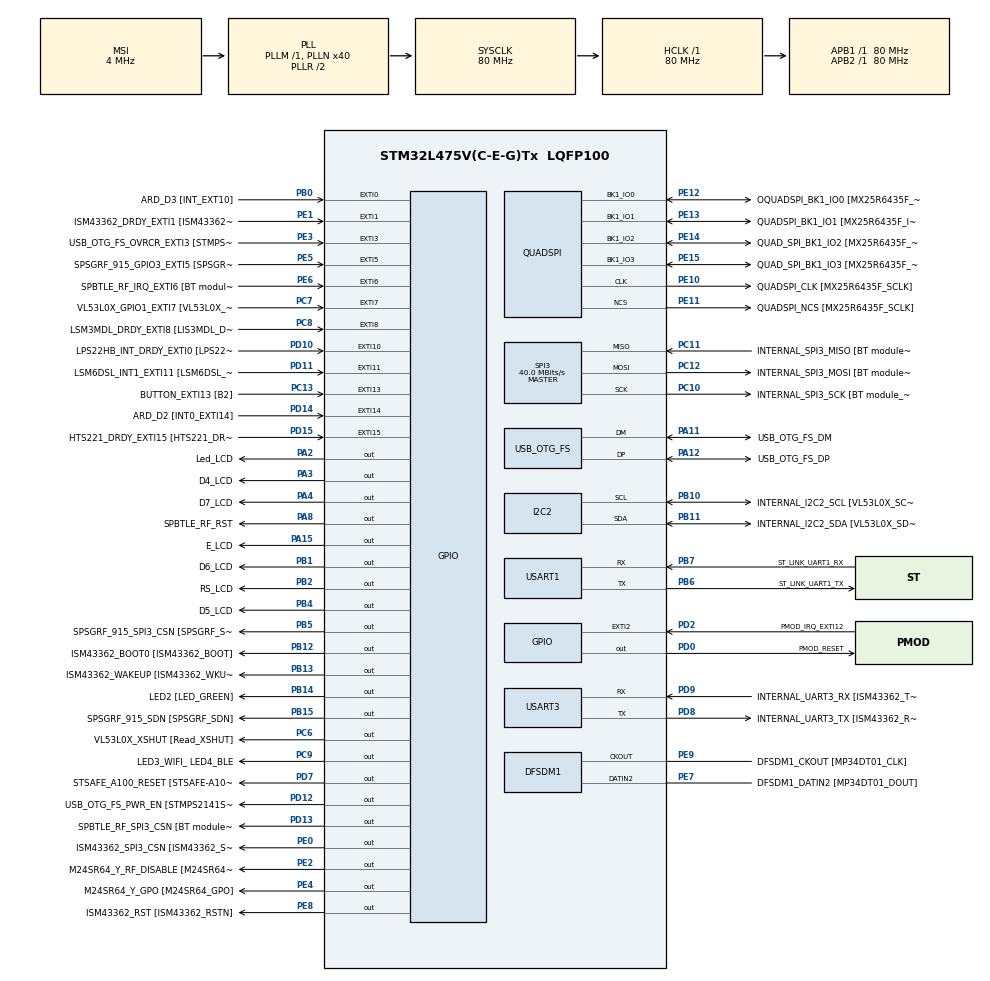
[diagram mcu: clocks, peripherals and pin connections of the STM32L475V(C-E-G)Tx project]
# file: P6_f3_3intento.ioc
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I2C2.Timing=0x10909CEC
Mcu.Family=STM32L4
Mcu.Name=STM32L475V(C-E-G)Tx
Mcu.Package=LQFP100
NVIC.EXTI15_10_IRQn=true\:0\:0\:false\:false\:true\:true\:true\:true
NVIC.EXTI9_5_IRQn=true\:0\:0\:false\:false\:true\:true\:true\:true
NVIC.OTG_FS_IRQn=true\:0\:0\:false\:false\:true\:false\:true\:true
NVIC.PriorityGroup=NVIC_PRIORITYGROUP_4
PA0.GPIO_Label=ARD_D1 [UART4_TX]
PA0.Signal=UART4_TX
PA1.GPIO_Label=ARD_D0 [UART4_RX]
PA1.Signal=UART4_RX
PA10.GPIO_Label=USB_OTG_FS_ID
PA10.Signal=USB_OTG_FS_ID
PA11.GPIO_Label=USB_OTG_FS_DM
PA11.Mode=Device_Only
PA11.Signal=USB_OTG_FS_DM
PA12.GPIO_Label=USB_OTG_FS_DP
PA12.Mode=Device_Only
PA12.Signal=USB_OTG_FS_DP
PA13\ (JTMS-SWDIO).GPIO_Label=SYS_JTMS_SWDIO
PA13\ (JTMS-SWDIO).Mode=Serial_Wire
PA13\ (JTMS-SWDIO).Signal=SYS_JTMS-SWDIO
PA14\ (JTCK-SWCLK).GPIO_Label=SYS_JTCK_SWCLK
PA14\ (JTCK-SWCLK).Mode=Serial_Wire
PA14\ (JTCK-SWCLK).Signal=SYS_JTCK-SWCLK
PA15\ (JTDI).GPIO_Label=E_LCD
PA15\ (JTDI).Signal=GPIO_Output
PA2.GPIO_Label=Led_LCD
PA2.Signal=GPIO_Output
PA3.GPIO_Label=D4_LCD
PA3.Signal=GPIO_Output
PA4.GPIO_Label=D7_LCD
PA4.Signal=GPIO_Output
PA5.GPIO_Label=ARD_D13 [SPI1_SCK]
PA5.Signal=SPI1_SCK
PA6.GPIO_Label=ARD_D12 [SPI1_MISO]
PA6.Signal=SPI1_MISO
PA7.GPIO_Label=ARD_D11 [SPI1_MOSI]
PA7.Signal=SPI1_MOSI
PA8.GPIO_Label=SPBTLE_RF_RST
PA8.Signal=GPIO_Output
PA9.GPIO_Label=USB_OTG_FS_VBUS [STMPS2141STR_OUT]
PA9.Signal=USB_OTG_FS_VBUS
PB0.GPIO_Label=ARD_D3 [INT_EXT10]
PB0.Signal=GPXTI0
PB1.GPIO_Label=D6_LCD
PB1.Signal=GPIO_Output
PB10.GPIO_Label=INTERNAL_I2C2_SCL [VL53L0X_SCL]
PB10.GPIO_Pu=GPIO_PULLUP
PB10.Mode=I2C
PB10.Signal=I2C2_SCL
PB11.GPIO_Label=INTERNAL_I2C2_SDA [VL53L0X_SDA]
PB11.GPIO_Pu=GPIO_PULLUP
PB11.Mode=I2C
PB11.Signal=I2C2_SDA
PB12.GPIO_Label=ISM43362_BOOT0 [ISM43362_BOOT]
PB12.Signal=GPIO_Output
PB13.GPIO_Label=ISM43362_WAKEUP [ISM43362_WKUP]
PB13.Signal=GPIO_Output
PB14.GPIO_Label=LED2 [LED_GREEN]
PB14.Signal=GPIO_Output
PB15.GPIO_Label=SPSGRF_915_SDN [SPSGRF_SDN]
PB15.Signal=GPIO_Output
PB2.GPIO_Label=RS_LCD
PB2.Signal=GPIO_Output
PB3\ (JTDO-TRACESWO).GPIO_Label=SYS_JTD0_SWO
PB3\ (JTDO-TRACESWO).Signal=SYS_JTDO-SWO
PB4\ (NJTRST).GPIO_Label=D5_LCD
PB4\ (NJTRST).Signal=GPIO_Output
PB5.GPIO_Label=SPSGRF_915_SPI3_CSN [SPSGRF_SPI_CS]
PB5.PinState=GPIO_PIN_SET
PB5.Signal=GPIO_Output
PB6.GPIO_Label=ST_LINK_UART1_TX
PB6.Mode=Asynchronous
PB6.Signal=USART1_TX
PB7.GPIO_Label=ST_LINK_UART1_RX
PB7.Mode=Asynchronous
PB7.Signal=USART1_RX
PB8.GPIO_Label=ARD_D15 [I2C1_SCL]
PB8.Signal=I2C1_SCL
PB9.GPIO_Label=ARD_D14 [I2C1_SDA]
PB9.Signal=I2C1_SDA
PC0.GPIO_Label=ARD_A5 [ADC]
PC0.Signal=ADCx_IN1
PC1.GPIO_Label=ARD_A4 [ADC]
PC1.Signal=ADCx_IN2
PC10.GPIO_Label=INTERNAL_SPI3_SCK [BT module_SPI_SCLK] [ISM43362_SCK]
PC10.Mode=Full_Duplex_Master
PC10.Signal=SPI3_SCK
PC11.GPIO_Label=INTERNAL_SPI3_MISO [BT module_SPI_MISO] [ISM43362_MISO]
PC11.Mode=Full_Duplex_Master
PC11.Signal=SPI3_MISO
PC12.GPIO_Label=INTERNAL_SPI3_MOSI [BT module_SPI_MOSI] [ISM43362_MOSI]
PC12.Mode=Full_Duplex_Master
PC12.Signal=SPI3_MOSI
PC13.GPIO_Label=BUTTON_EXTI13 [B2]
PC13.GPIO_ModeDefaultEXTI=GPIO_MODE_IT_RISING_FALLING
PC13.GPIO_PuPd=GPIO_NOPULL
PC13.Signal=GPXTI13
PC14-OSC32_IN\ (PC14).Mode=LSE-External-Oscillator
PC14-OSC32_IN\ (PC14).Signal=RCC_OSC32_IN
PC15-OSC32_OUT\ (PC15).Mode=LSE-External-Oscillator
PC15-OSC32_OUT\ (PC15).Signal=RCC_OSC32_OUT
PC2.GPIO_Label=ARD_A3 [ADC]
PC2.Signal=ADCx_IN3
PC3.GPIO_Label=ARD_A2 [ADC]
PC3.Signal=ADCx_IN4
PC4.GPIO_Label=ARD_A1 [ADC]
PC4.Signal=ADCx_IN13
PC5.GPIO_Label=ARD_A0 [ADC]
PC5.Signal=ADCx_IN14
PC6.GPIO_Label=VL53L0X_XSHUT [Read_XSHUT]
PC6.Signal=GPIO_Output
PC7.GPIO_Label=VL53L0X_GPIO1_EXTI7 [VL53L0X_GPIO1]
PC7.Signal=GPXTI7
PC8.GPIO_Label=LSM3MDL_DRDY_EXTI8 [LIS3MDL_DRDY]
PC8.Signal=GPXTI8
PC9.GPIO_Label=LED3_WIFI_ LED4_BLE
PC9.Signal=GPIO_Output
PD0.GPIO_Label=PMOD_RESET
PD0.Signal=GPIO_Output
PD1.GPIO_Label=PMOD_SPI2_SCK
PD1.Signal=SPI2_SCK
PD10.GPIO_Label=LPS22HB_INT_DRDY_EXTI0 [LPS22HB_INT_DRDY] 
PD10.Signal=GPXTI10
PD11.GPIO_Label=LSM6DSL_INT1_EXTI11 [LSM6DSL_INT1]
PD11.Signal=GPXTI11
PD12.GPIO_Label=USB_OTG_FS_PWR_EN [STMPS2141STR_EN]
PD12.Signal=GPIO_Output
PD13.GPIO_Label=SPBTLE_RF_SPI3_CSN [BT module_SPI_CS]
PD13.PinState=GPIO_PIN_SET
PD13.Signal=GPIO_Output
PD14.GPIO_Label=ARD_D2 [INT0_EXTI14]
PD14.Signal=GPXTI14
PD15.GPIO_Label=HTS221_DRDY_EXTI15 [HTS221_DRDY]
PD15.Signal=GPXTI15
PD2.GPIO_Label=PMOD_IRQ_EXTI12
PD2.Signal=GPXTI2
PD3.GPIO_Label=PMOD_UART2_CTS
PD3.Signal=USART2_CTS
PD4.GPIO_Label=PMOD_UART2_RTS
PD4.Signal=USART2_RTS
PD5.GPIO_Label=PMOD_UART2_TX
PD5.Signal=USART2_TX
PD6.GPIO_Label=PMOD_UART2_RX
PD6.Signal=USART2_RX
PD7.GPIO_Label=STSAFE_A100_RESET [STSAFE-A100_RESET]
PD7.Signal=GPIO_Output
PD8.GPIO_Label=INTERNAL_UART3_TX [ISM43362_RX]
PD8.Mode=Asynchronous
PD8.Signal=USART3_TX
PD9.GPIO_Label=INTERNAL_UART3_RX [ISM43362_TX]
PD9.Mode=Asynchronous
PD9.Signal=USART3_RX
PE0.GPIO_Label=ISM43362_SPI3_CSN [ISM43362_SSN]
PE0.PinState=GPIO_PIN_SET
PE0.Signal=GPIO_Output
PE1.GPIO_Label=ISM43362_DRDY_EXTI1 [ISM43362_DATARDY]
PE1.Signal=GPXTI1
PE10.GPIO_Label=QUADSPI_CLK [MX25R6435F_SCLK]
PE10.Mode=Single Bank
PE10.Signal=QUADSPI_CLK
PE11.GPIO_Label=QUADSPI_NCS [MX25R6435F_SCLK]
PE11.Mode=Single Bank
PE11.Signal=QUADSPI_NCS
PE12.GPIO_Label=OQUADSPI_BK1_IO0 [MX25R6435F_IO0]
PE12.Mode=Single Bank
PE12.Signal=QUADSPI_BK1_IO0
PE13.GPIO_Label=QUADSPI_BK1_IO1 [MX25R6435F_IO1]
PE13.Mode=Single Bank
PE13.Signal=QUADSPI_BK1_IO1
PE14.GPIO_Label=QUAD_SPI_BK1_IO2 [MX25R6435F_IO2]
PE14.Mode=Single Bank
PE14.Signal=QUADSPI_BK1_IO2
PE15.GPIO_Label=QUAD_SPI_BK1_IO3 [MX25R6435F_IO3]
PE15.Mode=Single Bank
PE15.Signal=QUADSPI_BK1_IO3
PE2.GPIO_Label=M24SR64_Y_RF_DISABLE [M24SR64_RFDIS]
PE2.Signal=GPIO_Output
PE3.GPIO_Label=USB_OTG_FS_OVRCR_EXTI3 [STMPS2141STR_FAULT]
PE3.Signal=GPXTI3
PE4.GPIO_Label=M24SR64_Y_GPO [M24SR64_GPO]
PE4.Signal=GPIO_Output
PE5.GPIO_Label=SPSGRF_915_GPIO3_EXTI5 [SPSGRF_GPIO_3]
PE5.Signal=GPXTI5
PE6.GPIO_Label=SPBTLE_RF_IRQ_EXTI6 [BT module_SPI_IRQ]
PE6.Signal=GPXTI6
PE7.GPIO_Label=DFSDM1_DATIN2 [MP34DT01_DOUT]
PE7.Signal=S_DATAIN2DFSDM1
PE8.GPIO_Label=ISM43362_RST [ISM43362_RSTN]
PE8.Signal=GPIO_Output
PE9.GPIO_Label=DFSDM1_CKOUT [MP34DT01_CLK]
PE9.Signal=S_CKOUTDFSDM1
ProjectManager.HeapSize=0x200
ProjectManager.StackSize=0x400
ProjectManager.TargetToolchain=STM32CubeIDE
QUADSPI.ClockPrescaler=2
QUADSPI.FifoThreshold=4
QUADSPI.FlashSize=23
QUADSPI.SampleShifting=QSPI_SAMPLE_SHIFTING_HALFCYCLE
RCC.ADCFreq_Value=48000000
RCC.AHBFreq_Value=80000000
RCC.APB1Freq_Value=80000000
RCC.APB1TimFreq_Value=80000000
RCC.APB2Freq_Value=80000000
RCC.APB2TimFreq_Value=80000000
RCC.CortexFreq_Value=80000000
RCC.HCLKFreq_Value=80000000
RCC.HSE_VALUE=8000000
RCC.HSI_VALUE=16000000
RCC.MSI_VALUE=4000000
RCC.PLLN=40
RCC.PLLSAI1N=24
RCC.SYSCLKFreq_VALUE=80000000
RCC.SYSCLKSource=RCC_SYSCLKSOURCE_PLLCLK
RCC.USBFreq_Value=48000000
RCC.VCOOutputFreq_Value=160000000
SH.ADCx_IN1.0=ADC1_IN1
SH.ADCx_IN13.0=ADC1_IN13
SH.ADCx_IN14.0=ADC1_IN14
SH.ADCx_IN2.0=ADC1_IN2
SH.ADCx_IN3.0=ADC1_IN3
SH.ADCx_IN4.0=ADC1_IN4
SH.S_CKOUTDFSDM1.0=DFSDM1_CKOUT,CKOUT
SH.S_CKOUTDFSDM1.1=DFSDM1_CKOUT,PDM_SPI_Input_from_ch12_and_Internal_Clock
SH.S_DATAIN2DFSDM1.0=DFSDM1_DATIN2,PDM_SPI_Input_from_ch12_and_Internal_Clock
SPI3.CalculateBaudRate=40.0 MBits/s
SPI3.Direction=SPI_DIRECTION_2LINES
SPI3.Mode=SPI_MODE_MASTER
SPI3.VirtualType=VM_MASTER
USART1.VirtualMode-Asynchronous=VM_ASYNC
USART3.VirtualMode-Asynchronous=VM_ASYNC
USB_DEVICE.CLASS_NAME_FS=CUSTOM_HID
USB_DEVICE.PID_CUSTOMHID_FS=23456
USB_DEVICE.USBD_CUSTOMHID_OUTREPORT_BUF_SIZE=7
USB_DEVICE.USBD_CUSTOM_HID_REPORT_DESC_SIZE=29
USB_DEVICE.VID=1337
USB_DEVICE.VirtualMode=CustomHid
USB_DEVICE.VirtualModeFS=Custom_Hid_FS
USB_OTG_FS.VirtualMode=Device_Only
VP_USB_DEVICE_VS_USB_DEVICE_CUSTOM_HID_FS.Mode=CUSTOM_HID_FS
board=B-L475E-IOT01A2

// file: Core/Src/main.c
/* USER CODE BEGIN Header */
/**
  ******************************************************************************
  * @file           : main.c
  * @brief          : Main program body
  ******************************************************************************
  * @attention
  *
  * Copyright (c) 2024 STMicroelectronics.
  * All rights reserved.
  *
  * This software is licensed under terms that can be found in the LICENSE file
  * in the root directory of this software component.
  * If no LICENSE file comes with this software, it is provided AS-IS.
  *
  ******************************************************************************
  */
/* USER CODE END Header */
#include "main.h"
#include "usb_device.h"

/* USER CODE BEGIN Includes */
#include "hd44780.h"
/* USER CODE END Includes */

DFSDM_Channel_HandleTypeDef hdfsdm1_channel1;

I2C_HandleTypeDef hi2c2;

QSPI_HandleTypeDef hqspi;

SPI_HandleTypeDef hspi3;

UART_HandleTypeDef huart1;
UART_HandleTypeDef huart3;

void SystemClock_Config(void);
static void MX_GPIO_Init(void);
static void MX_DFSDM1_Init(void);
static void MX_I2C2_Init(void);
static void MX_QUADSPI_Init(void);
static void MX_SPI3_Init(void);
static void MX_USART1_UART_Init(void);
static void MX_USART3_UART_Init(void);

/* USER CODE BEGIN 0 */
extern USBD_HandleTypeDef hUsbDeviceFS;
extern uint8_t miflag;
/* USER CODE END 0 */

int main(void)
{

  /* MCU Configuration--------------------------------------------------------*/

  /* Reset of all peripherals, Initializes the Flash interface and the Systick. */
  HAL_Init();

  /* Configure the system clock */
  SystemClock_Config();

  /* Initialize all configured peripherals */
  MX_GPIO_Init();
  MX_DFSDM1_Init();
  MX_I2C2_Init();
  MX_QUADSPI_Init();
  MX_SPI3_Init();
  MX_USART1_UART_Init();
  MX_USART3_UART_Init();
  MX_USB_DEVICE_Init();
  /* USER CODE BEGIN 2 */

lcd_reset();
lcd_display_settings(1,0,0);
lcd_clear();
HAL_GPIO_WritePin(Led_LCD_GPIO_Port, Led_LCD_Pin, 1);
lcd_print("Tecla: ");
HAL_Delay(5000);

uint8_t dato[6];
USBD_LL_PrepareReceive(&hUsbDeviceFS, 1,dato, 6);
uint8_t datoCiclo[6] = {115,101,116,114,0,0}; //setr ascii
char str[1];
int i;
  /* USER CODE END 2 */

  /* Infinite loop */
  /* USER CODE BEGIN WHILE */
  while (1)
  {
if(miflag==1){
	USBD_LL_PrepareReceive(&hUsbDeviceFS, 1,dato, 6);
	miflag=0; //bajamos la bandera
	if(dato[0]== 115){
		//letra s minucula
		HAL_GPIO_WritePin(LED2_GPIO_Port, LED2_Pin, 1);
	}else if(dato[0]==114){
		//letra r
		HAL_GPIO_WritePin(LED2_GPIO_Port, LED2_Pin, 0);
	}
	//siempre imprimimos el caracter en la pantalla
	lcd_clear();
	lcd_print("letra");
	str[0]= (char) dato[0];
	moveToXY(1, 1);
	lcd_print(str);

}
//enviamos esta cadena  para saber que se ha terminado el ciclo
USBD_CUSTOM_HID_SendReport_FS(datoCiclo,6);
    /* USER CODE END WHILE */

  }
}

void SystemClock_Config(void)
{
  RCC_OscInitTypeDef RCC_OscInitStruct = {0};
  RCC_ClkInitTypeDef RCC_ClkInitStruct = {0};

  /** Configure the main internal regulator output voltage
  */
  if (HAL_PWREx_ControlVoltageScaling(PWR_REGULATOR_VOLTAGE_SCALE1) != HAL_OK)
  {
    Error_Handler();
  }

  /** Configure LSE Drive Capability
  */
  HAL_PWR_EnableBkUpAccess();
  __HAL_RCC_LSEDRIVE_CONFIG(RCC_LSEDRIVE_LOW);

  /** Initializes the RCC Oscillators according to the specified parameters
  * in the RCC_OscInitTypeDef structure.
  */
  RCC_OscInitStruct.OscillatorType = RCC_OSCILLATORTYPE_LSE|RCC_OSCILLATORTYPE_MSI;
  RCC_OscInitStruct.LSEState = RCC_LSE_ON;
  RCC_OscInitStruct.MSIState = RCC_MSI_ON;
  RCC_OscInitStruct.MSICalibrationValue = 0;
  RCC_OscInitStruct.MSIClockRange = RCC_MSIRANGE_6;
  RCC_OscInitStruct.PLL.PLLState = RCC_PLL_ON;
  RCC_OscInitStruct.PLL.PLLSource = RCC_PLLSOURCE_MSI;
  RCC_OscInitStruct.PLL.PLLM = 1;
  RCC_OscInitStruct.PLL.PLLN = 40;
  RCC_OscInitStruct.PLL.PLLP = RCC_PLLP_DIV7;
  RCC_OscInitStruct.PLL.PLLQ = RCC_PLLQ_DIV2;
  RCC_OscInitStruct.PLL.PLLR = RCC_PLLR_DIV2;
  if (HAL_RCC_OscConfig(&RCC_OscInitStruct) != HAL_OK)
  {
    Error_Handler();
  }

  /** Initializes the CPU, AHB and APB buses clocks
  */
  RCC_ClkInitStruct.ClockType = RCC_CLOCKTYPE_HCLK|RCC_CLOCKTYPE_SYSCLK
                              |RCC_CLOCKTYPE_PCLK1|RCC_CLOCKTYPE_PCLK2;
  RCC_ClkInitStruct.SYSCLKSource = RCC_SYSCLKSOURCE_PLLCLK;
  RCC_ClkInitStruct.AHBCLKDivider = RCC_SYSCLK_DIV1;
  RCC_ClkInitStruct.APB1CLKDivider = RCC_HCLK_DIV1;
  RCC_ClkInitStruct.APB2CLKDivider = RCC_HCLK_DIV1;

  if (HAL_RCC_ClockConfig(&RCC_ClkInitStruct, FLASH_LATENCY_4) != HAL_OK)
  {
    Error_Handler();
  }

  /** Enable MSI Auto calibration
  */
  HAL_RCCEx_EnableMSIPLLMode();
}

static void MX_DFSDM1_Init(void)
{

  hdfsdm1_channel1.Instance = DFSDM1_Channel1;
  hdfsdm1_channel1.Init.OutputClock.Activation = ENABLE;
  hdfsdm1_channel1.Init.OutputClock.Selection = DFSDM_CHANNEL_OUTPUT_CLOCK_SYSTEM;
  hdfsdm1_channel1.Init.OutputClock.Divider = 2;
  hdfsdm1_channel1.Init.Input.Multiplexer = DFSDM_CHANNEL_EXTERNAL_INPUTS;
  hdfsdm1_channel1.Init.Input.DataPacking = DFSDM_CHANNEL_STANDARD_MODE;
  hdfsdm1_channel1.Init.Input.Pins = DFSDM_CHANNEL_FOLLOWING_CHANNEL_PINS;
  hdfsdm1_channel1.Init.SerialInterface.Type = DFSDM_CHANNEL_SPI_RISING;
  hdfsdm1_channel1.Init.SerialInterface.SpiClock = DFSDM_CHANNEL_SPI_CLOCK_INTERNAL;
  hdfsdm1_channel1.Init.Awd.FilterOrder = DFSDM_CHANNEL_FASTSINC_ORDER;
  hdfsdm1_channel1.Init.Awd.Oversampling = 1;
  hdfsdm1_channel1.Init.Offset = 0;
  hdfsdm1_channel1.Init.RightBitShift = 0x00;
  if (HAL_DFSDM_ChannelInit(&hdfsdm1_channel1) != HAL_OK)
  {
    Error_Handler();
  }

}

static void MX_I2C2_Init(void)
{

  hi2c2.Instance = I2C2;
  hi2c2.Init.Timing = 0x10909CEC;
  hi2c2.Init.OwnAddress1 = 0;
  hi2c2.Init.AddressingMode = I2C_ADDRESSINGMODE_7BIT;
  hi2c2.Init.DualAddressMode = I2C_DUALADDRESS_DISABLE;
  hi2c2.Init.OwnAddress2 = 0;
  hi2c2.Init.OwnAddress2Masks = I2C_OA2_NOMASK;
  hi2c2.Init.GeneralCallMode = I2C_GENERALCALL_DISABLE;
  hi2c2.Init.NoStretchMode = I2C_NOSTRETCH_DISABLE;
  if (HAL_I2C_Init(&hi2c2) != HAL_OK)
  {
    Error_Handler();
  }

  /** Configure Analogue filter
  */
  if (HAL_I2CEx_ConfigAnalogFilter(&hi2c2, I2C_ANALOGFILTER_ENABLE) != HAL_OK)
  {
    Error_Handler();
  }

  /** Configure Digital filter
  */
  if (HAL_I2CEx_ConfigDigitalFilter(&hi2c2, 0) != HAL_OK)
  {
    Error_Handler();
  }

}

static void MX_QUADSPI_Init(void)
{

  /* QUADSPI parameter configuration*/
  hqspi.Instance = QUADSPI;
  hqspi.Init.ClockPrescaler = 2;
  hqspi.Init.FifoThreshold = 4;
  hqspi.Init.SampleShifting = QSPI_SAMPLE_SHIFTING_HALFCYCLE;
  hqspi.Init.FlashSize = 23;
  hqspi.Init.ChipSelectHighTime = QSPI_CS_HIGH_TIME_1_CYCLE;
  hqspi.Init.ClockMode = QSPI_CLOCK_MODE_0;
  if (HAL_QSPI_Init(&hqspi) != HAL_OK)
  {
    Error_Handler();
  }

}

static void MX_SPI3_Init(void)
{

  /* SPI3 parameter configuration*/
  hspi3.Instance = SPI3;
  hspi3.Init.Mode = SPI_MODE_MASTER;
  hspi3.Init.Direction = SPI_DIRECTION_2LINES;
  hspi3.Init.DataSize = SPI_DATASIZE_4BIT;
  hspi3.Init.CLKPolarity = SPI_POLARITY_LOW;
  hspi3.Init.CLKPhase = SPI_PHASE_1EDGE;
  hspi3.Init.NSS = SPI_NSS_SOFT;
  hspi3.Init.BaudRatePrescaler = SPI_BAUDRATEPRESCALER_2;
  hspi3.Init.FirstBit = SPI_FIRSTBIT_MSB;
  hspi3.Init.TIMode = SPI_TIMODE_DISABLE;
  hspi3.Init.CRCCalculation = SPI_CRCCALCULATION_DISABLE;
  hspi3.Init.CRCPolynomial = 7;
  hspi3.Init.CRCLength = SPI_CRC_LENGTH_DATASIZE;
  hspi3.Init.NSSPMode = SPI_NSS_PULSE_ENABLE;
  if (HAL_SPI_Init(&hspi3) != HAL_OK)
  {
    Error_Handler();
  }

}

static void MX_USART1_UART_Init(void)
{

  huart1.Instance = USART1;
  huart1.Init.BaudRate = 115200;
  huart1.Init.WordLength = UART_WORDLENGTH_8B;
  huart1.Init.StopBits = UART_STOPBITS_1;
  huart1.Init.Parity = UART_PARITY_NONE;
  huart1.Init.Mode = UART_MODE_TX_RX;
  huart1.Init.HwFlowCtl = UART_HWCONTROL_NONE;
  huart1.Init.OverSampling = UART_OVERSAMPLING_16;
  huart1.Init.OneBitSampling = UART_ONE_BIT_SAMPLE_DISABLE;
  huart1.AdvancedInit.AdvFeatureInit = UART_ADVFEATURE_NO_INIT;
  if (HAL_UART_Init(&huart1) != HAL_OK)
  {
    Error_Handler();
  }

}

static void MX_USART3_UART_Init(void)
{

  huart3.Instance = USART3;
  huart3.Init.BaudRate = 115200;
  huart3.Init.WordLength = UART_WORDLENGTH_8B;
  huart3.Init.StopBits = UART_STOPBITS_1;
  huart3.Init.Parity = UART_PARITY_NONE;
  huart3.Init.Mode = UART_MODE_TX_RX;
  huart3.Init.HwFlowCtl = UART_HWCONTROL_NONE;
  huart3.Init.OverSampling = UART_OVERSAMPLING_16;
  huart3.Init.OneBitSampling = UART_ONE_BIT_SAMPLE_DISABLE;
  huart3.AdvancedInit.AdvFeatureInit = UART_ADVFEATURE_NO_INIT;
  if (HAL_UART_Init(&huart3) != HAL_OK)
  {
    Error_Handler();
  }

}

static void MX_GPIO_Init(void)
{
  GPIO_InitTypeDef GPIO_InitStruct = {0};

  /* GPIO Ports Clock Enable */
  __HAL_RCC_GPIOE_CLK_ENABLE();
  __HAL_RCC_GPIOC_CLK_ENABLE();
  __HAL_RCC_GPIOA_CLK_ENABLE();
  __HAL_RCC_GPIOB_CLK_ENABLE();
  __HAL_RCC_GPIOD_CLK_ENABLE();

  /*Configure GPIO pin Output Level */
  HAL_GPIO_WritePin(GPIOE, M24SR64_Y_RF_DISABLE_Pin|M24SR64_Y_GPO_Pin|ISM43362_RST_Pin, GPIO_PIN_RESET);

  /*Configure GPIO pin Output Level */
  HAL_GPIO_WritePin(GPIOA, Led_LCD_Pin|D4_LCD_Pin|D7_LCD_Pin|SPBTLE_RF_RST_Pin
                          |E_LCD_Pin, GPIO_PIN_RESET);

  /*Configure GPIO pin Output Level */
  HAL_GPIO_WritePin(GPIOB, D6_LCD_Pin|RS_LCD_Pin|ISM43362_BOOT0_Pin|ISM43362_WAKEUP_Pin
                          |LED2_Pin|SPSGRF_915_SDN_Pin|D5_LCD_Pin, GPIO_PIN_RESET);

  /*Configure GPIO pin Output Level */
  HAL_GPIO_WritePin(GPIOD, USB_OTG_FS_PWR_EN_Pin|PMOD_RESET_Pin|STSAFE_A100_RESET_Pin, GPIO_PIN_RESET);

  /*Configure GPIO pin Output Level */
  HAL_GPIO_WritePin(SPBTLE_RF_SPI3_CSN_GPIO_Port, SPBTLE_RF_SPI3_CSN_Pin, GPIO_PIN_SET);

  /*Configure GPIO pin Output Level */
  HAL_GPIO_WritePin(GPIOC, VL53L0X_XSHUT_Pin|LED3_WIFI__LED4_BLE_Pin, GPIO_PIN_RESET);

  /*Configure GPIO pin Output Level */
  HAL_GPIO_WritePin(SPSGRF_915_SPI3_CSN_GPIO_Port, SPSGRF_915_SPI3_CSN_Pin, GPIO_PIN_SET);

  /*Configure GPIO pin Output Level */
  HAL_GPIO_WritePin(ISM43362_SPI3_CSN_GPIO_Port, ISM43362_SPI3_CSN_Pin, GPIO_PIN_SET);

  /*Configure GPIO pins : M24SR64_Y_RF_DISABLE_Pin M24SR64_Y_GPO_Pin ISM43362_RST_Pin ISM43362_SPI3_CSN_Pin */
  GPIO_InitStruct.Pin = M24SR64_Y_RF_DISABLE_Pin|M24SR64_Y_GPO_Pin|ISM43362_RST_Pin|ISM43362_SPI3_CSN_Pin;
  GPIO_InitStruct.Mode = GPIO_MODE_OUTPUT_PP;
  GPIO_InitStruct.Pull = GPIO_NOPULL;
  GPIO_InitStruct.Speed = GPIO_SPEED_FREQ_LOW;
  HAL_GPIO_Init(GPIOE, &GPIO_InitStruct);

  /*Configure GPIO pins : USB_OTG_FS_OVRCR_EXTI3_Pin SPSGRF_915_GPIO3_EXTI5_Pin SPBTLE_RF_IRQ_EXTI6_Pin ISM43362_DRDY_EXTI1_Pin */
  GPIO_InitStruct.Pin = USB_OTG_FS_OVRCR_EXTI3_Pin|SPSGRF_915_GPIO3_EXTI5_Pin|SPBTLE_RF_IRQ_EXTI6_Pin|ISM43362_DRDY_EXTI1_Pin;
  GPIO_InitStruct.Mode = GPIO_MODE_IT_RISING;
  GPIO_InitStruct.Pull = GPIO_NOPULL;
  HAL_GPIO_Init(GPIOE, &GPIO_InitStruct);

  /*Configure GPIO pin : BUTTON_EXTI13_Pin */
  GPIO_InitStruct.Pin = BUTTON_EXTI13_Pin;
  GPIO_InitStruct.Mode = GPIO_MODE_IT_RISING_FALLING;
  GPIO_InitStruct.Pull = GPIO_NOPULL;
  HAL_GPIO_Init(BUTTON_EXTI13_GPIO_Port, &GPIO_InitStruct);

  /*Configure GPIO pins : ARD_A5_Pin ARD_A4_Pin ARD_A3_Pin ARD_A2_Pin
                           ARD_A1_Pin ARD_A0_Pin */
  GPIO_InitStruct.Pin = ARD_A5_Pin|ARD_A4_Pin|ARD_A3_Pin|ARD_A2_Pin
                          |ARD_A1_Pin|ARD_A0_Pin;
  GPIO_InitStruct.Mode = GPIO_MODE_ANALOG_ADC_CONTROL;
  GPIO_InitStruct.Pull = GPIO_NOPULL;
  HAL_GPIO_Init(GPIOC, &GPIO_InitStruct);

  /*Configure GPIO pins : ARD_D1_Pin ARD_D0_Pin */
  GPIO_InitStruct.Pin = ARD_D1_Pin|ARD_D0_Pin;
  GPIO_InitStruct.Mode = GPIO_MODE_AF_PP;
  GPIO_InitStruct.Pull = GPIO_NOPULL;
  GPIO_InitStruct.Speed = GPIO_SPEED_FREQ_VERY_HIGH;
  GPIO_InitStruct.Alternate = GPIO_AF8_UART4;
  HAL_GPIO_Init(GPIOA, &GPIO_InitStruct);

  /*Configure GPIO pins : Led_LCD_Pin D4_LCD_Pin D7_LCD_Pin SPBTLE_RF_RST_Pin
                           E_LCD_Pin */
  GPIO_InitStruct.Pin = Led_LCD_Pin|D4_LCD_Pin|D7_LCD_Pin|SPBTLE_RF_RST_Pin
                          |E_LCD_Pin;
  GPIO_InitStruct.Mode = GPIO_MODE_OUTPUT_PP;
  GPIO_InitStruct.Pull = GPIO_NOPULL;
  GPIO_InitStruct.Speed = GPIO_SPEED_FREQ_LOW;
  HAL_GPIO_Init(GPIOA, &GPIO_InitStruct);

  /*Configure GPIO pins : ARD_D13_Pin ARD_D12_Pin ARD_D11_Pin */
  GPIO_InitStruct.Pin = ARD_D13_Pin|ARD_D12_Pin|ARD_D11_Pin;
  GPIO_InitStruct.Mode = GPIO_MODE_AF_PP;
  GPIO_InitStruct.Pull = GPIO_NOPULL;
  GPIO_InitStruct.Speed = GPIO_SPEED_FREQ_VERY_HIGH;
  GPIO_InitStruct.Alternate = GPIO_AF5_SPI1;
  HAL_GPIO_Init(GPIOA, &GPIO_InitStruct);

  /*Configure GPIO pin : ARD_D3_Pin */
  GPIO_InitStruct.Pin = ARD_D3_Pin;
  GPIO_InitStruct.Mode = GPIO_MODE_IT_RISING;
  GPIO_InitStruct.Pull = GPIO_NOPULL;
  HAL_GPIO_Init(ARD_D3_GPIO_Port, &GPIO_InitStruct);

  /*Configure GPIO pins : D6_LCD_Pin RS_LCD_Pin ISM43362_BOOT0_Pin ISM43362_WAKEUP_Pin
                           LED2_Pin SPSGRF_915_SDN_Pin D5_LCD_Pin SPSGRF_915_SPI3_CSN_Pin */
  GPIO_InitStruct.Pin = D6_LCD_Pin|RS_LCD_Pin|ISM43362_BOOT0_Pin|ISM43362_WAKEUP_Pin
                          |LED2_Pin|SPSGRF_915_SDN_Pin|D5_LCD_Pin|SPSGRF_915_SPI3_CSN_Pin;
  GPIO_InitStruct.Mode = GPIO_MODE_OUTPUT_PP;
  GPIO_InitStruct.Pull = GPIO_NOPULL;
  GPIO_InitStruct.Speed = GPIO_SPEED_FREQ_LOW;
  HAL_GPIO_Init(GPIOB, &GPIO_InitStruct);

  /*Configure GPIO pins : LPS22HB_INT_DRDY_EXTI0_Pin LSM6DSL_INT1_EXTI11_Pin ARD_D2_Pin HTS221_DRDY_EXTI15_Pin
                           PMOD_IRQ_EXTI12_Pin */
  GPIO_InitStruct.Pin = LPS22HB_INT_DRDY_EXTI0_Pin|LSM6DSL_INT1_EXTI11_Pin|ARD_D2_Pin|HTS221_DRDY_EXTI15_Pin
                          |PMOD_IRQ_EXTI12_Pin;
  GPIO_InitStruct.Mode = GPIO_MODE_IT_RISING;
  GPIO_InitStruct.Pull = GPIO_NOPULL;
  HAL_GPIO_Init(GPIOD, &GPIO_InitStruct);

  /*Configure GPIO pins : USB_OTG_FS_PWR_EN_Pin SPBTLE_RF_SPI3_CSN_Pin PMOD_RESET_Pin STSAFE_A100_RESET_Pin */
  GPIO_InitStruct.Pin = USB_OTG_FS_PWR_EN_Pin|SPBTLE_RF_SPI3_CSN_Pin|PMOD_RESET_Pin|STSAFE_A100_RESET_Pin;
  GPIO_InitStruct.Mode = GPIO_MODE_OUTPUT_PP;
  GPIO_InitStruct.Pull = GPIO_NOPULL;
  GPIO_InitStruct.Speed = GPIO_SPEED_FREQ_LOW;
  HAL_GPIO_Init(GPIOD, &GPIO_InitStruct);

  /*Configure GPIO pins : VL53L0X_XSHUT_Pin LED3_WIFI__LED4_BLE_Pin */
  GPIO_InitStruct.Pin = VL53L0X_XSHUT_Pin|LED3_WIFI__LED4_BLE_Pin;
  GPIO_InitStruct.Mode = GPIO_MODE_OUTPUT_PP;
  GPIO_InitStruct.Pull = GPIO_NOPULL;
  GPIO_InitStruct.Speed = GPIO_SPEED_FREQ_LOW;
  HAL_GPIO_Init(GPIOC, &GPIO_InitStruct);

  /*Configure GPIO pins : VL53L0X_GPIO1_EXTI7_Pin LSM3MDL_DRDY_EXTI8_Pin */
  GPIO_InitStruct.Pin = VL53L0X_GPIO1_EXTI7_Pin|LSM3MDL_DRDY_EXTI8_Pin;
  GPIO_InitStruct.Mode = GPIO_MODE_IT_RISING;
  GPIO_InitStruct.Pull = GPIO_NOPULL;
  HAL_GPIO_Init(GPIOC, &GPIO_InitStruct);

  /*Configure GPIO pin : PMOD_SPI2_SCK_Pin */
  GPIO_InitStruct.Pin = PMOD_SPI2_SCK_Pin;
  GPIO_InitStruct.Mode = GPIO_MODE_AF_PP;
  GPIO_InitStruct.Pull = GPIO_NOPULL;
  GPIO_InitStruct.Speed = GPIO_SPEED_FREQ_VERY_HIGH;
  GPIO_InitStruct.Alternate = GPIO_AF5_SPI2;
  HAL_GPIO_Init(PMOD_SPI2_SCK_GPIO_Port, &GPIO_InitStruct);

  /*Configure GPIO pins : PMOD_UART2_CTS_Pin PMOD_UART2_RTS_Pin PMOD_UART2_TX_Pin PMOD_UART2_RX_Pin */
  GPIO_InitStruct.Pin = PMOD_UART2_CTS_Pin|PMOD_UART2_RTS_Pin|PMOD_UART2_TX_Pin|PMOD_UART2_RX_Pin;
  GPIO_InitStruct.Mode = GPIO_MODE_AF_PP;
  GPIO_InitStruct.Pull = GPIO_NOPULL;
  GPIO_InitStruct.Speed = GPIO_SPEED_FREQ_VERY_HIGH;
  GPIO_InitStruct.Alternate = GPIO_AF7_USART2;
  HAL_GPIO_Init(GPIOD, &GPIO_InitStruct);

  /*Configure GPIO pins : ARD_D15_Pin ARD_D14_Pin */
  GPIO_InitStruct.Pin = ARD_D15_Pin|ARD_D14_Pin;
  GPIO_InitStruct.Mode = GPIO_MODE_AF_OD;
  GPIO_InitStruct.Pull = GPIO_NOPULL;
  GPIO_InitStruct.Speed = GPIO_SPEED_FREQ_VERY_HIGH;
  GPIO_InitStruct.Alternate = GPIO_AF4_I2C1;
  HAL_GPIO_Init(GPIOB, &GPIO_InitStruct);

  /* EXTI interrupt init*/
  HAL_NVIC_SetPriority(EXTI9_5_IRQn, 0, 0);
  HAL_NVIC_EnableIRQ(EXTI9_5_IRQn);

  HAL_NVIC_SetPriority(EXTI15_10_IRQn, 0, 0);
  HAL_NVIC_EnableIRQ(EXTI15_10_IRQn);

}

void Error_Handler(void)
{
  __disable_irq();
  while (1)
  {
  }
}
